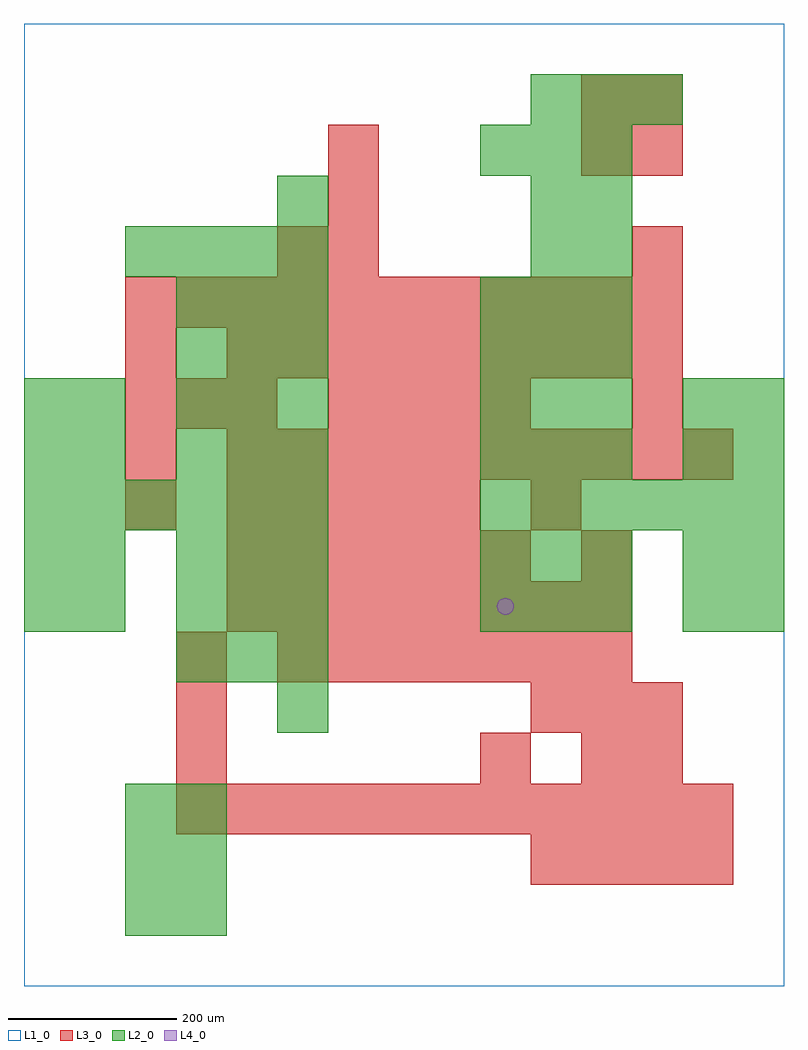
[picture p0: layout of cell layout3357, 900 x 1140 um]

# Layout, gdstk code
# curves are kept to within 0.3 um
import gdstk
lib = gdstk.Library(unit=1e-6, precision=1e-09)
def R(c, l, rs):  # rectangles x0, y0, x1, y1
    for r in rs: c.add(gdstk.rectangle(r[:2], r[2:], *l))
def A(c, l, x, y, w, h, nx, ny, dx, dy):  # array of equal rectangles
    R(c, l, [(x+i*dx, y+j*dy, x+i*dx+w, y+j*dy+h) for i in range(nx) for j in range(ny)])
def P(c, l, *ps):  # polygons
    for p in ps: c.add(gdstk.Polygon(p, *l))
L1_0 = (1, 0)
L2_0 = (2, 0)
L3_0 = (3, 0)
L4_0 = (4, 0)

layout3357 = lib.new_cell('layout3357')
R(layout3357, L1_0, [(0,0,900,1140)])
A(layout3357, L2_0, 120, 60, 60, 60, 1, 3, 0, 60)
A(layout3357, L2_0, 180, 60, 60, 60, 1, 3, 0, 60)
A(layout3357, L2_0, 180, 360, 60, 60, 3, 3, 60, 60)
A(layout3357, L2_0, 540, 420, 60, 60, 3, 2, 60, 60)
A(layout3357, L2_0, 0, 540, 60, 60, 6, 1, 60, 0)
A(layout3357, L2_0, 540, 540, 60, 60, 6, 1, 60, 0)
A(layout3357, L2_0, 180, 600, 60, 60, 3, 4, 60, 60)
A(layout3357, L2_0, 540, 600, 60, 60, 3, 4, 60, 60)
A(layout3357, L2_0, 120, 840, 60, 60, 4, 1, 60, 0)
A(layout3357, L2_0, 540, 960, 60, 60, 3, 1, 60, 0)
A(layout3357, L2_0, 600, 1020, 60, 60, 3, 1, 60, 0)
R(layout3357, L2_0, [(300,300,360,360), (0,420,60,480), (60,420,120,480), (780,420,840,480), (840,420,900,480), (0,480,60,540), (60,480,120,540), (780,480,840,540), (840,480,900,540), (0,600,60,660), (60,600,120,660), (780,600,840,660), (840,600,900,660), (0,660,60,720), (60,660,120,720), (780,660,840,720), (840,660,900,720), (600,840,660,900), (660,840,720,900), (300,900,360,960), (600,900,660,960), (660,900,720,960)])
A(layout3357, L3_0, 600, 120, 60, 60, 4, 1, 60, 0)
A(layout3357, L3_0, 180, 180, 60, 60, 11, 1, 60, 0)
A(layout3357, L3_0, 180, 240, 60, 60, 1, 3, 0, 60)
A(layout3357, L3_0, 600, 300, 60, 60, 3, 1, 60, 0)
A(layout3357, L3_0, 300, 360, 60, 60, 7, 1, 60, 0)
A(layout3357, L3_0, 240, 420, 60, 60, 8, 1, 60, 0)
A(layout3357, L3_0, 240, 480, 60, 60, 6, 1, 60, 0)
A(layout3357, L3_0, 240, 540, 60, 60, 5, 1, 60, 0)
A(layout3357, L3_0, 240, 600, 60, 60, 10, 1, 60, 0)
A(layout3357, L3_0, 120, 660, 60, 60, 3, 1, 60, 0)
A(layout3357, L3_0, 360, 660, 60, 60, 4, 1, 60, 0)
A(layout3357, L3_0, 240, 720, 60, 60, 9, 1, 60, 0)
A(layout3357, L3_0, 120, 780, 60, 60, 11, 1, 60, 0)
A(layout3357, L3_0, 360, 840, 60, 60, 1, 3, 0, 60)
R(layout3357, L3_0, [(540,240,600,300), (660,240,720,300), (720,240,780,300), (660,480,720,540), (120,540,180,600), (600,540,660,600), (120,600,180,660), (720,660,780,720), (120,720,180,780), (300,840,360,900), (720,840,780,900), (660,960,720,1020), (720,960,780,1020), (660,1020,720,1080), (720,1020,780,1080)])
P(layout3357, L4_0, [(580,450),(579.239,453.827),(577.071,457.071),(573.827,459.239),(570,460),(566.173,459.239),(562.929,457.071),(560.761,453.827),(560,450),(560.761,446.173),(562.929,442.929),(566.173,440.761),(570,440),(573.827,440.761),(577.071,442.929),(579.239,446.173)])

lib.write_gds('layout3357.gds')
